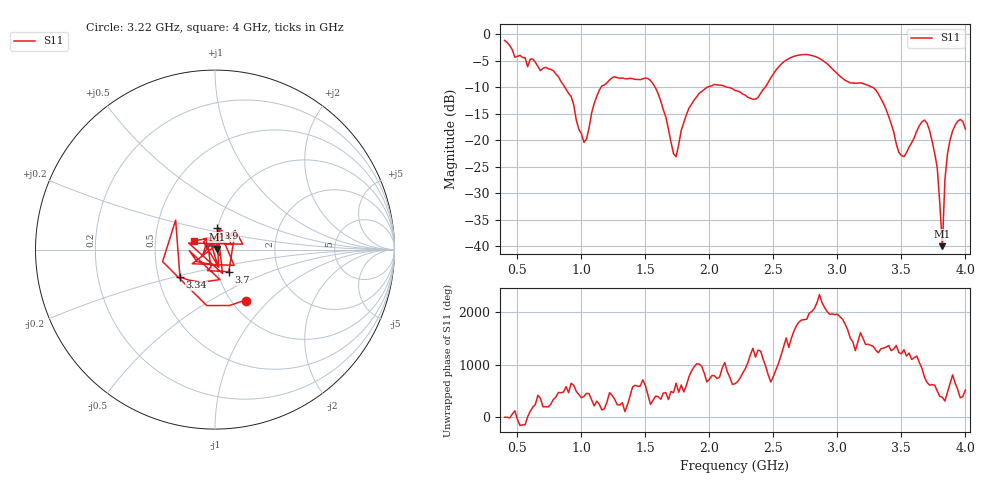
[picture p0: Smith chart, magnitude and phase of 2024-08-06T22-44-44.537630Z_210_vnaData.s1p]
!Created with skrf (http://scikit-rf.org).
# Hz S RI R 50.0
!freq ReS11 ImS11
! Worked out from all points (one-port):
!   181 points, 400 MHz to 4 GHz, reference 50 ohm
!   lowest |S11| = -40.0 dB at 3.82 GHz (marker M1), VSWR 1.02, Z = 51 + j0.339 ohm
!   |S11| at or under -10 dB: 871.5 MHz to 1.153 GHz (281.3 MHz wide, 27.8 % of centre); 1.576 GHz to 1.979 GHz (403.1 MHz wide, 22.7 % of centre); 3.277 GHz to end of sweep (the widest 3 of 4)
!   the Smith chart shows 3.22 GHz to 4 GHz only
!   S11 on the Smith chart (normalised r, x): 3.22 GHz: 1.16, -0.75; 3.34 GHz: 0.65, -0.21; 3.7 GHz: 1.13, -0.28; 3.9 GHz: 1.00, +0.25; 4 GHz: 0.79, +0.08
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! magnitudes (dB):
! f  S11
! 400 MHz  -1.1
! 860 MHz  -9.5
! 920 MHz  -11.7
! 1.02 GHz  -20.4
! 1.14 GHz  -10.5
! 1.3 GHz  -8.3
! 1.54 GHz  -8.7
! 1.66 GHz  -15.6
! 1.72 GHz  -22.5
! 1.76 GHz  -20.8
! 1.84 GHz  -13.9
! 1.92 GHz  -11.1
! 2.2 GHz  -10.6
! 2.36 GHz  -12.2
! 2.66 GHz  -4.1
! 2.84 GHz  -4.3
! 3.1 GHz  -9.1
! 3.22 GHz  -9.4
! 3.34 GHz  -12.1
! 3.48 GHz  -22.2
! 3.56 GHz  -21.3
! 3.7 GHz  -16.8
! 3.78 GHz  -25.1
! 3.82 GHz  -40.0
! 3.84 GHz  -27.4
! 3.9 GHz  -18.2
! 3.96 GHz  -16.0
! 4 GHz  -17.9
